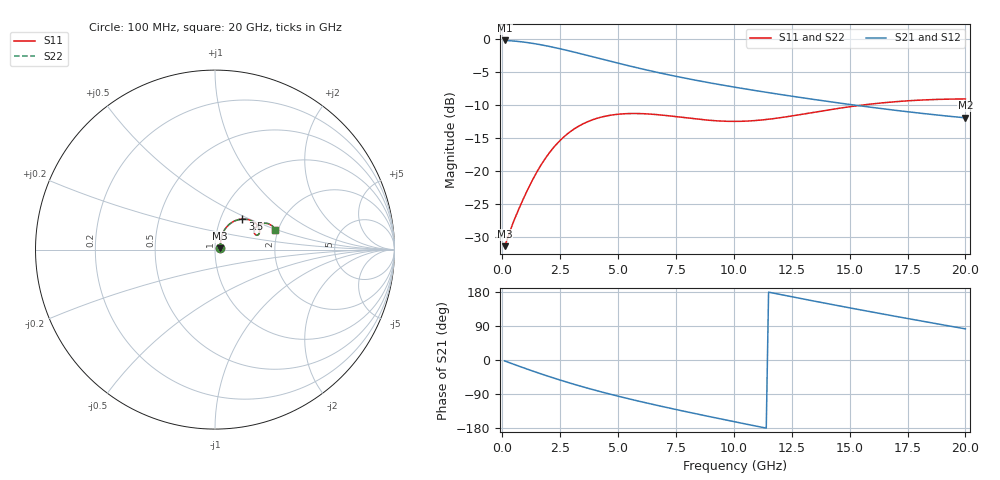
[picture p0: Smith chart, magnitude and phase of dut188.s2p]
! Touchstone file exported from HFSS 2023.1.0
!  File:  D:/Users/fzz/RDL_TSV/temp_RDL_TSV_188_1778755570.aedt
!  Generated:  6:58:17 %x4E0B%x5348  5%x6708 14, 2026
!  Design:  RDL_TSV
!  Project:  temp_RDL_TSV_188_1778755570
!  Setup:  Setup1
!  Solution:  Sweep
! Variables:
!  dtsv = 10.75um
!  hbump = 3um
!  htsv = 66.33um
!  ldown = 642.52um
!  lrdl = 590.82um
!  p = 40
!  p1 = 46.45um
!  rhole = 10um
!  subl = 4290.84um
!  t = 450um
!  tdown = 4.25um
!  trdl = 2.58um
!  viad = 10um
!  wdown = 13.52um
!  wrdl = 22.61um
!  xbump = 18um
# GHz S MA R 50.000000
! Terminal data exported
! Port[1] = TM1_1_T1
! Port[2] = TM1_4_T1
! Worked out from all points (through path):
!   200 points, 100 MHz to 20 GHz, reference 50 ohm
!   highest |S21| = -0.23 dB at 100 MHz (marker M1); lowest = -11.9 dB at 20 GHz (marker M2)
!   group delay of S21, straight-line fit = 36.7 ps
!   lowest |S11| = -31.3 dB at 100 MHz (marker M3), VSWR 1.06, Z = 52.7 + j0.699 ohm
!   |S11| at or under -10 dB: start of sweep to 15.55 GHz
!   |S22| runs from -31.3 to -9.1 dB; largest |S21 - S12| = 1.1e-14
!   S11 on the Smith chart (normalised r, x): 100 MHz: 1.05, +0.01; 3.5 GHz: 1.27, +0.46; 20 GHz: 1.93, +0.48
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0.1  0.02716 14.1  0.9734 -2.3  0.9734 -2.3  0.02716 14.1
! Gamma 0 0 0 0
! Port Impedance 50 0 50 0
0.5  0.04218 44.5  0.9635 -11.5  0.9635 -11.5  0.04219 44.4
0.8  0.05614 55.0  0.952 -18.1  0.952 -18.1  0.05615 54.9
1.3  0.0856 63.5  0.9262 -28.9  0.9262 -28.9  0.08555 63.4
1.7  0.1135 64.6  0.9007 -37.2  0.9007 -37.2  0.1134 64.5
2.1  0.1428 62.7  0.8723 -45.2  0.8723 -45.2  0.1426 62.7
2.6  0.1779 58.2  0.8344 -54.9  0.8344 -54.9  0.1776 58.1
3  0.2029 53.8  0.8031 -62.3  0.8031 -62.3  0.2025 53.7
3.5  0.2288 48.1  0.764 -71.2  0.764 -71.2  0.2283 48.0
4.2  0.2544 40.3  0.7113 -82.9  0.7113 -82.9  0.2537 40.2
5.1  0.2706 31.8  0.6493 -97.0  0.6493 -97.0  0.2697 31.7
5.9  0.2729 25.9  0.6007 -108.7  0.6007 -108.7  0.2718 25.8
6.8  0.2667 21.3  0.5534 -121.2  0.5534 -121.2  0.2655 21.3
7.6  0.2574 19.2  0.5172 -132.0  0.5172 -132.0  0.2561 19.2
8.4  0.2479 18.8  0.4855 -142.4  0.4855 -142.4  0.2464 18.9
10.1  0.2382 22.4  0.4299 -163.8  0.4299 -163.8  0.2368 22.6
11.6  0.2484 26.9  0.39 177.8  0.39 177.8  0.2473 27.2
13.4  0.2778 29.4  0.3499 156.2  0.3499 156.2  0.2773 29.8
15  0.3072 28.4  0.3198 137.6  0.3198 137.6  0.3071 28.8
16.7  0.3322 25.4  0.2927 118.4  0.2927 118.4  0.3325 25.7
18.3  0.3465 21.8  0.2716 100.7  0.2716 100.7  0.3471 22.1
20  0.3519 18.1  0.2533 82.2  0.2533 82.2  0.3527 18.4
